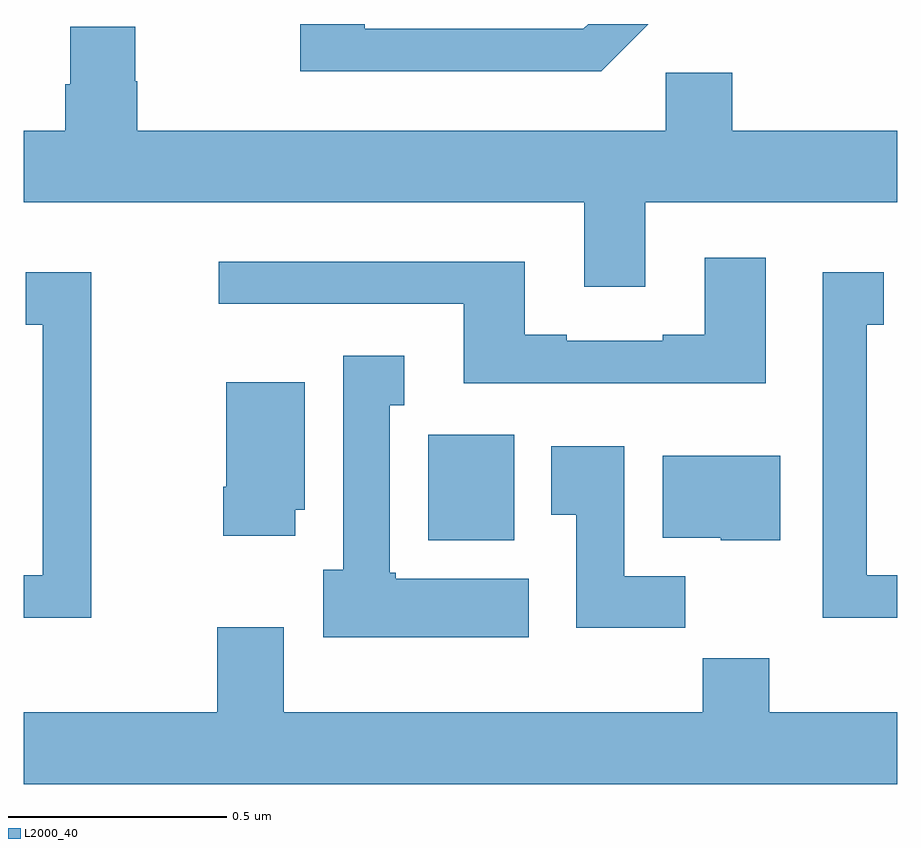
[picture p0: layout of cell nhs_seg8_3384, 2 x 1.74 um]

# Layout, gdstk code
import gdstk
lib = gdstk.Library(unit=1e-6, precision=1e-09)
def R(c, l, rs):  # rectangles x0, y0, x1, y1
    for r in rs: c.add(gdstk.rectangle(r[:2], r[2:], *l))
def P(c, l, *ps):  # polygons
    for p in ps: c.add(gdstk.Polygon(p, *l))
L2000_40 = (2000, 40)

nhs_seg8_3384 = lib.new_cell('nhs_seg8_3384')
R(nhs_seg8_3384, L2000_40, [(156.926,1123.718,157.123,1123.96)])
P(nhs_seg8_3384, L2000_40, [(157.43,1124.9),(157.292,1124.9),(157.281,1124.889),(156.781,1124.889),(156.781,1124.9),(156.633,1124.9),(156.633,1124.792),(157.322,1124.792)],
  [(157.423,1124.492),(158,1124.492),(158,1124.656),(157.622,1124.656),(157.622,1124.788),(157.47,1124.788),(157.47,1124.656),(156.26,1124.656),(156.26,1124.769),(156.255,1124.769),(156.255,1124.894),(156.107,1124.894),(156.107,1124.762),(156.095,1124.762),(156.095,1124.656),(156,1124.656),(156,1124.492),(157.283,1124.492),(157.283,1124.298),(157.423,1124.298)],
  [(157.699,1124.365),(157.559,1124.365),(157.559,1124.188),(157.463,1124.188),(157.463,1124.175),(157.243,1124.175),(157.243,1124.188),(157.147,1124.188),(157.147,1124.356),(156.447,1124.356),(156.447,1124.259),(157.007,1124.259),(157.007,1124.078),(157.699,1124.078)],
  [(158,1123.638),(157.93,1123.638),(157.93,1124.211),(157.969,1124.211),(157.969,1124.332),(157.829,1124.332),(157.829,1123.541),(158,1123.541)],
  [(156.155,1124.332),(156.005,1124.332),(156.005,1124.211),(156.044,1124.211),(156.044,1123.638),(156,1123.638),(156,1123.541),(156.155,1123.541)],
  [(157.156,1123.63),(156.852,1123.63),(156.852,1123.644),(156.838,1123.644),(156.838,1124.027),(156.871,1124.027),(156.871,1124.14),(156.731,1124.14),(156.731,1123.65),(156.686,1123.65),(156.686,1123.496),(157.156,1123.496)],
  [(156.622,1123.788),(156.643,1123.788),(156.643,1124.08),(156.464,1124.08),(156.464,1123.84),(156.457,1123.84),(156.457,1123.728),(156.622,1123.728)],
  [(157.514,1123.636),(157.375,1123.636),(157.375,1123.933),(157.208,1123.933),(157.208,1123.777),(157.265,1123.777),(157.265,1123.518),(157.514,1123.518)],
  [(157.732,1123.912),(157.463,1123.912),(157.463,1123.724),(157.596,1123.724),(157.596,1123.718),(157.732,1123.718)],
  [(158,1123.324),(157.707,1123.324),(157.707,1123.448),(157.555,1123.448),(157.555,1123.324),(156.595,1123.324),(156.595,1123.519),(156.443,1123.519),(156.443,1123.324),(156,1123.324),(156,1123.16),(158,1123.16)])

lib.write_gds('nhs_seg8_3384.gds')
